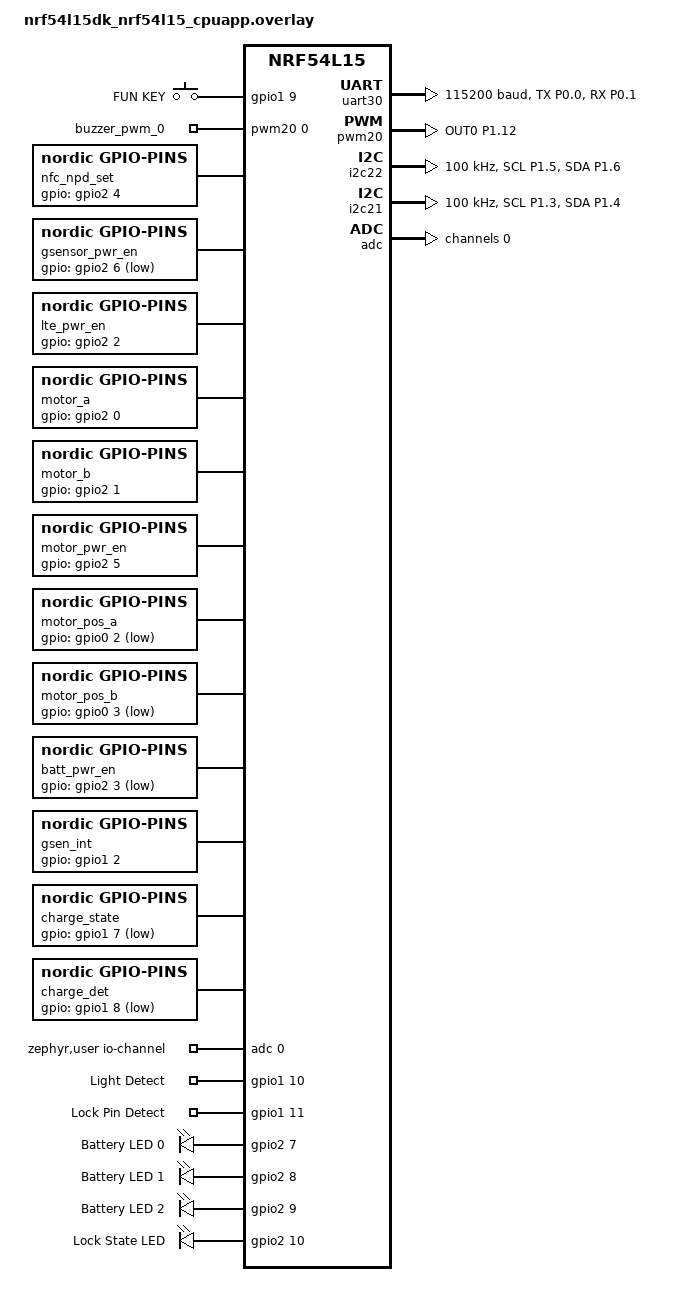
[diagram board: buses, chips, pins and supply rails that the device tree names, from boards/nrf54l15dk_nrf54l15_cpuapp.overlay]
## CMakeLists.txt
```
#
# Copyright (c) 2018 Nordic Semiconductor
#
# SPDX-License-Identifier: LicenseRef-Nordic-5-Clause
#
cmake_minimum_required(VERSION 3.20.0)

find_package(Zephyr REQUIRED HINTS $ENV{ZEPHYR_BASE})
project(LL311_BLE)

target_include_directories(app PRIVATE
 ./inc
 ./src
 ./ext_module/nfc/api
 ./ext_module/nfc/drivers/FM175XX/inc
)

# NORDIC SDK APP START
target_sources(app PRIVATE
  src/main.c
  src/my_ring_buf.c
  src/my_shell.c
  src/my_ble_core.c
  src/my_lte.c
  src/my_gsensor.c
  src/my_gsensor_algorithm.c
  src/my_nfc.c
  src/my_ctrl.c
  src/my_motor.c
  src/my_battery.c
#  src/my_wdt.c
  src/my_tool.c
  src/my_cmd_setting.c
  src/my_zms_param.c
  ext_module/nfc/api/nfc_api.c
  ext_module/nfc/drivers/FM175XX/src/fm175xx_driver.c
  ext_module/nfc/drivers/FM175XX/src/nfc_reader_api.c
  ext_module/nfc/drivers/FM175XX/src/nfc_mifare.c
  ext_module/nfc/drivers/FM175XX/src/nfc_ntag.c
  src/my_ble_app.c
  src/my_ble_log.c
  src/my_dfu_jimi.c
  src/my_pm.c
  src/my_ble_scan.c
)

# NORDIC SDK APP END
```

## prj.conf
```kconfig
#
# Copyright (c) 2018 Nordic Semiconductor
#
# SPDX-License-Identifier: LicenseRef-Nordic-5-Clause
#

# Enable the UART driver
CONFIG_UART_ASYNC_API=y
CONFIG_NRFX_UARTE=y
CONFIG_SERIAL=y

# Enable the GPIO driver
CONFIG_GPIO=y

# Enable I2C driver
CONFIG_I2C=y

# Enable PWM driver
CONFIG_PWM=y

# Make sure printk is printing to the RTT console
CONFIG_CONSOLE=y
CONFIG_UART_CONSOLE=n
CONFIG_RTT_CONSOLE=y

# Enable Shell
CONFIG_SHELL=y
CONFIG_SHELL_BACKEND_RTT=y
CONFIG_SHELL_BACKEND_SERIAL=n
CONFIG_SHELL_VT100_COMMANDS=y
CONFIG_SHELL_HISTORY=y

# Increase RTT buffer size to prevent message drops
CONFIG_SEGGER_RTT_BUFFER_SIZE_UP=4096
CONFIG_LOG_BUFFER_SIZE=4096

# Heap and stacks
CONFIG_HEAP_MEM_POOL_SIZE=16384
CONFIG_MAIN_STACK_SIZE=2048
CONFIG_SYSTEM_WORKQUEUE_STACK_SIZE=2048

# Bluetooth RX workqueue stack size (default 1200 is insufficient for BLE log, increased to 2048)
CONFIG_BT_RX_STACK_SIZE=2048

# Enable Bluetooth
CONFIG_BT=y
CONFIG_BT_PERIPHERAL=y
CONFIG_BT_DEVICE_NAME="LL311"
CONFIG_BT_DEVICE_APPEARANCE=512
CONFIG_BT_MAX_CONN=2
CONFIG_BT_MAX_PAIRED=1

# Enable Bluetooth Observer role for TAG scanning
CONFIG_BT_OBSERVER=y
CONFIG_BT_SCAN=y

# Enable extended advertising for multiple advertising sets
CONFIG_BT_EXT_ADV=y
CONFIG_BT_EXT_ADV_MAX_ADV_SET=3

CONFIG_BT_CTLR_TX_PWR_DYNAMIC_CONTROL=y

# Enable the Device Information Service
# CONFIG_BT_DIS=y
# CONFIG_BT_DIS_MANUF_NAME=y
# CONFIG_BT_DIS_MANUF_NAME_STR="Nordic Semiconductor ASA"
# CONFIG_BT_DIS_PNP=y
# CONFIG_BT_DIS_PNP_VID_SRC=2
# CONFIG_BT_DIS_PNP_VID=0x1915
# CONFIG_BT_DIS_PNP_PID=0xEEF1
# CONFIG_BT_DIS_PNP_VER=0x0100

# Disable NUS service
CONFIG_BT_NUS=n
# CONFIG_BT_NUS_THREAD_STACK_SIZE is no longer needed

# Enable bonding
CONFIG_BT_SETTINGS=y
CONFIG_FLASH=y
CONFIG_FLASH_PAGE_LAYOUT=y
CONFIG_FLASH_MAP=y
CONFIG_STREAM_FLASH=y
CONFIG_PARTITION_MANAGER_ENABLED=y

# Enable DK LED and Buttons library
CONFIG_DK_LIBRARY=n

# Disable SPI NOR Flash
CONFIG_SPI_NOR=n
CONFIG_NORDIC_QSPI_NOR=n

# Enable Power Management
CONFIG_PM=y
CONFIG_PM_DEVICE=y
CONFIG_PM_DEVICE_RUNTIME=y

# Disable unused RAM blocks to reduce standby current
CONFIG_RAM_POWER_DOWN_LIBRARY=y

# Config logger
CONFIG_LOG=y
CONFIG_LOG_DEFAULT_LEVEL=3
CONFIG_USE_SEGGER_RTT=y
CONFIG_LOG_BACKEND_RTT=n
CONFIG_LOG_BACKEND_UART=n
CONFIG_LOG_PRINTK=n
CONFIG_LOG_CUSTOM_FORMAT_SUPPORT=y
CONFIG_LOG_OUTPUT_FORMAT_CUSTOM_TIMESTAMP=y
CONFIG_LOG_BACKEND_FORMAT_TIMESTAMP=y

CONFIG_HWINFO=y


# Enable assertions
CONFIG_ASSERT=y

# Enable power management
CONFIG_PM=y
CONFIG_PM_DEVICE=y

# Enable Watchdog
# CONFIG_WATCHDOG=y

# Enable reboot
CONFIG_REBOOT=y

# Enable ADC
CONFIG_ADC=y
CONFIG_ADC_NRFX_SAADC=y

# ST MEMSC HAL
CONFIG_USE_STDC_LSM6DSV16X=y

# Enable poweroff
CONFIG_POWEROFF=y

# nRF Security + PSA Crypto
CONFIG_NRF_SECURITY=y

# AES ECB
CONFIG_PSA_WANT_KEY_TYPE_AES=y
CONFIG_PSA_WANT_ALG_ECB_NO_PADDING=y

# Enable MCUManager and BT OTA DFU
CONFIG_NCS_SAMPLE_MCUMGR_BT_OTA_DFU=y

# Enable Bluetooth OTA DFU support, no authentication required
CONFIG_MCUMGR_TRANSPORT_BT_PERM_RW=y

# MCUmgr notification hooks for OTA status monitoring
CONFIG_MCUMGR_MGMT_NOTIFICATION_HOOKS=y
CONFIG_MCUMGR_SMP_COMMAND_STATUS_HOOKS=y
CONFIG_MCUMGR_GRP_IMG_UPLOAD_CHECK_HOOK=y

# Enable Bluetooth SMP (Security Manager Protocol)
CONFIG_BT_SMP=y

# Enable Secure Connections pairing (for Passkey Entry)
CONFIG_BT_SMP_SC_PAIR_ONLY=n

# Enable larger ACL buffers for DFU (MTU 498 + 4 bytes L2CAP header)
# Supports dual-PDU mode: max data length = 251 * 2 = 502
CONFIG_BT_L2CAP_TX_MTU=498
CONFIG_BT_BUF_ACL_RX_SIZE=502
CONFIG_BT_BUF_ACL_TX_SIZE=502
CONFIG_BT_CTLR_DATA_LENGTH_MAX=251

CONFIG_CBPRINTF_FP_SUPPORT=y
```

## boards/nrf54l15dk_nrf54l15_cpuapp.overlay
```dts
/*
 * Copyright (c) 2024 Nordic Semiconductor ASA
 *
 * SPDX-License-Identifier: LicenseRef-Nordic-5-Clause
 */

#include <zephyr/dt-bindings/gpio/gpio.h>
#include <zephyr/dt-bindings/i2c/i2c.h>
#include <zephyr/dt-bindings/pinctrl/nrf-pinctrl.h>

/ {
	chosen {
	};

	/* 定义别名，方便代码调用 */
	aliases {
		/* 删除板级alias别名 */
		/delete-property/ led0;
		/delete-property/ led1;
		/delete-property/ led2;
		/delete-property/ led3;
		/delete-property/ pwm-led0;
		/delete-property/ sw0;
		/delete-property/ sw1;
		/delete-property/ sw2;
		/delete-property/ sw3;
		/delete-property/ mcuboot-button0;
		/delete-property/ mcuboot-led0;
		lte-uart = &uart30;
		lte-pwr-ctrl = &lte_pwr_en;
		gsensor-i2c = &i2c21;
		gsensor-pwr-ctrl = &gsensor_pwr_en;
		nfc-i2c = &i2c22;
		nfc-npd-ctrl = &nfc_npd_set;
		buzzer-pwm = &buzzer_pwm_0;
		fun-key = &fun_key_pin;
		motor-ctrl-a = &motor_a;
		motor-ctrl-b = &motor_b;
		motor-pwr-ctrl = &motor_pwr_en;
		motor-posdet-a = &motor_pos_a;
		motor-posdet-b = &motor_pos_b;
		batt-pwr-ctrl = &batt_pwr_en;
		gsensor-int = &gsen_int;
		batt-state = &charge_state;
		charge-detect = &charge_det;
		light-detect = &light_det_pin;
		lock-pin-det = &lock_pin_det_pin;
		battery-led0 = &batt_led0;
		battery-led1 = &batt_led1;
		battery-led2 = &batt_led2;
		lock-led0  = &lock_led;
	};
	/* 删除板级节点 */
	/delete-node/ leds;
	/delete-node/ buttons;
	/delete-node/ pwmleds;

	/* 定义按键 - 使用 gpio-keys 兼容类型 */
	button_fun: button_fun {
		compatible = "gpio-keys";
		fun_key_pin: fun_key_pin {
			gpios = <&gpio1 9 (GPIO_PULL_DOWN | GPIO_ACTIVE_HIGH)>;
			label = "FUN KEY";
		};
	};

	/* 定义蜂鸣器 PWM 节点 */
	buzzer_node {
		compatible = "pwm-leds";
		buzzer_pwm_0: buzzer_pwm_0 {
			/* 蜂鸣器设置2.7KHz */
			pwms = <&pwm20 0 PWM_HZ(2700) PWM_POLARITY_NORMAL>;
		};
	};

	/* NFC NPD 低功耗控制引脚配置:P2.04 */
	nfc_npd_set: nfc-npd-set {
		compatible = "nordic,gpio-pins";
		gpios = <&gpio2 4 GPIO_ACTIVE_HIGH>;
		status = "okay";
	};

	/* G-Sensor 电源控制引脚配置,低电平有效,适配硬件设计 */
	gsensor_pwr_en: gsensor-pwr-en {
		compatible = "nordic,gpio-pins";
		gpios = <&gpio2 6 GPIO_ACTIVE_LOW>;
		status = "okay";
	};

	/* LTE 电源控制引脚配置 */
	lte_pwr_en: lte-pwr-en {
		compatible = "nordic,gpio-pins";
		gpios = <&gpio2 2 GPIO_ACTIVE_HIGH>;
		status = "okay";
	};

	/* P2.0: 马达方向 A */
	motor_a: motor-a {
		compatible = "nordic,gpio-pins";
		gpios = <&gpio2 0 GPIO_ACTIVE_HIGH>;
		status = "okay";
	};

	/* P2.1: 马达方向 B */
	motor_b: motor-b {
		compatible = "nordic,gpio-pins";
		gpios = <&gpio2 1 GPIO_ACTIVE_HIGH>;
		status = "okay";
	};

	/* P2.5: 马达电源开关，高电平上电 */
	 motor_pwr_en: motor-pwr-en {
		compatible = "nordic,gpio-pins";
		gpios = <&gpio2 5 GPIO_ACTIVE_HIGH>;
		status = "okay";
	};

	/* P0.2: 位置检测 A，默认上拉 */
	motor_pos_a: motor-pos-a {
		compatible = "nordic,gpio-pins";
		gpios = <&gpio0 2 (GPIO_ACTIVE_LOW | GPIO_PULL_UP)>;
		status = "okay";
	};

	/* P0.3: 位置检测 B，默认上拉 */
	motor_pos_b: motor-pos-b {
		compatible = "nordic,gpio-pins";
		gpios = <&gpio0 3 (GPIO_ACTIVE_LOW | GPIO_PULL_UP)>;
		status = "okay";
	};

	/* P2.3: 电池使能，低电平使能 */
	batt_pwr_en: batt-pwr-en {
		compatible = "nordic,gpio-pins";
		gpios = <&gpio2 3 GPIO_ACTIVE_LOW>;
		status = "okay";
	};

	/* gsensor中断，默认下拉 */
	gsen_int: gsen-int {
		compatible = "nordic,gpio-pins";
		gpios = <&gpio1 2 (GPIO_PULL_DOWN | GPIO_ACTIVE_HIGH)>;
		status = "okay";
	};

	/* P1.7:电池状态监测； 充电中:低电平; 充满:高电平 */
	charge_state: charge-state {
		compatible = "nordic,gpio-pins";
		gpios = <&gpio1 7 (GPIO_PULL_UP | GPIO_ACTIVE_LOW)>;
		status = "okay";
	};

	/* P1.8: 是否在充电的检测,默认上拉 */
	charge_det: charge-det {
		compatible = "nordic,gpio-pins";
		gpios = <&gpio1 8 (GPIO_PULL_UP | GPIO_ACTIVE_LOW)>;
		status = "okay";
	};

	/* 把要用的 ADC 通道挂到 zephyr,user，方便 C 代码用 ADC_DT_SPEC_GET(DT_PATH(zephyr_user)) */
	zephyr,user {
		/* 通道 0：电池电压（P1.13 / AIN6）*/
		io-channels = <&adc 0>;
	};

	/* 光感检测：P1.10，外部1M下拉，有光高电平，无光低电平 */
	light_det: light-det {
		compatible = "gpio-keys";
		light_det_pin: light_det_pin {
			gpios = <&gpio1 10 GPIO_ACTIVE_HIGH>;
			label = "Light Detect";
		};
	};

	/* 锁销检测：P1.11，外部1M下拉，锁销断开时低电平，插入后接3.3V变为高电平 */
	lock_pin_det: lock-pin-det {
		compatible = "gpio-keys";
		lock_pin_det_pin: lock_pin_det_pin {
			gpios = <&gpio1 11 GPIO_ACTIVE_HIGH>;
			label = "Lock Pin Detect";
		};
	};

	/* 电量指示灯组：P2.7 / P2.8 / P2.9 */
	batt_leds: batt-leds {
		compatible = "gpio-leds";

		batt_led0: batt_led_0 {
			gpios = <&gpio2 7 GPIO_ACTIVE_HIGH>;
			label = "Battery LED 0";  /* 最低电量格 */
		};

		batt_led1: batt_led_1 {
			gpios = <&gpio2 8 GPIO_ACTIVE_HIGH>;
			label = "Battery LED 1";
		};

		batt_led2: batt_led_2 {
			gpios = <&gpio2 9 GPIO_ACTIVE_HIGH>;
			label = "Battery LED 2";  /* 最高电量格 */
		};
	};

	/* 锁状态指示灯：P2.10 */
	lock_leds: lock-leds {
		compatible = "gpio-leds";

		lock_led: lock-led {
			gpios = <&gpio2 10 GPIO_ACTIVE_HIGH>;
			label = "Lock State LED";
		};
	};
};

/* 配置 NFC 使用的引脚做为IO口 */
&uicr {
	nfct-pins-as-gpios;
};

&uart20 {
	status = "disabled";
};

/* 配置 LTE 模块使用的串口引脚 P2.00, P2.01 */
&pinctrl {
	i2c21_default: i2c21_default {
		group1 {
			psels = <NRF_PSEL(TWIM_SCL, 1, 3)>,
				<NRF_PSEL(TWIM_SDA, 1, 4)>;
		};
	};

	i2c21_sleep: i2c21_sleep {
		group1 {
			psels = <NRF_PSEL(TWIM_SCL, 1, 3)>,
				<NRF_PSEL(TWIM_SDA, 1, 4)>;
			low-power-enable;
		};
	};

	i2c22_default: i2c22_default {
		group1 {
			psels = <NRF_PSEL(TWIM_SCL, 1, 5)>,
				<NRF_PSEL(TWIM_SDA, 1, 6)>;
		};
	};

	i2c22_sleep: i2c22_sleep {
		group1 {
			psels = <NRF_PSEL(TWIM_SCL, 1, 5)>,
				<NRF_PSEL(TWIM_SDA, 1, 6)>;
			low-power-enable;
		};
	};

	lte_uart30_default: lte_uart30_default {
		group1 {
			psels = <NRF_PSEL(UART_TX, 0, 0)>,
				<NRF_PSEL(UART_RX, 0, 1)>;
		};
	};

	lte_uart30_sleep: lte_uart30_sleep {
		group1 {
			psels = <NRF_PSEL(UART_TX, 0, 0)>,
				<NRF_PSEL(UART_RX, 0, 1)>;
			low-power-enable;
		};
	};

	pwm20_default: pwm20_default {
		group1 {
			psels = <NRF_PSEL(PWM_OUT0, 1, 12)>;
			nordic,drive-mode = <NRF_DRIVE_H0H1>;
		};
	};

	pwm20_sleep: pwm20_sleep {
		group1 {
			psels = <NRF_PSEL(PWM_OUT0, 1, 12)>;
			low-power-enable;
		};
	};
};

/* 开启并配置 UART30 */
&uart30 {
	status = "okay";
	current-speed = <115200>;
	pinctrl-0 = <&lte_uart30_default>;
	pinctrl-1 = <&lte_uart30_sleep>;
	pinctrl-names = "default", "sleep";
};

/* 开启并配置 PWM 用于蜂鸣器 */
&pwm20 {
	status = "okay";
	pinctrl-0 = <&pwm20_default>;
	pinctrl-1 = <&pwm20_sleep>;
	pinctrl-names = "default", "sleep";
};

/* 开启并配置 I2C22 用于 NFC */
&i2c22 {
	status = "okay";
	pinctrl-0 = <&i2c22_default>;
	pinctrl-1 = <&i2c22_sleep>;
	pinctrl-names = "default", "sleep";
	clock-frequency = <I2C_BITRATE_STANDARD>;
};


&i2c21 {
	status = "okay";
	pinctrl-0 = <&i2c21_default>;
	pinctrl-1 = <&i2c21_sleep>;
	pinctrl-names = "default", "sleep";
	clock-frequency = <I2C_BITRATE_STANDARD>;
};

/* ADC 配置：通道 0 = AIN6(P1.13)，通道 1 = AIN7(P1.14) */
&adc {
	#address-cells = <1>;
	#size-cells = <0>;
	status = "okay";

	/* 通道 0：电池电压采集，AIN6 = P1.13 */
	channel@0 {
		reg = <0>;
		zephyr,gain = "ADC_GAIN_1_4";          /* nRF54L15 推荐 1/4 增益 */
		zephyr,reference = "ADC_REF_INTERNAL"; /* 内部参考 */
		zephyr,acquisition-time = <ADC_ACQ_TIME_DEFAULT>;
		zephyr,input-positive = <NRF_SAADC_AIN6>;  /* AIN6 = P1.13 */
		zephyr,resolution = <14>;                  /* nRF54L15 为 14 bit */
	};
};

/* disable spi nor flash */
&spi00 {
	status = "disabled";
};

/* Disable MX25R64 SPI NOR Flash */
&mx25r64 {
    status = "disabled";
};

/* 用于P0.4唤醒 */
&gpio0 {
	wakeup-source;
};

/*
&wdt31 {
	status = "okay";
};
*/
```

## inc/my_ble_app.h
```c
/********************************************************************
**版权所有         深圳市几米物联有限公司
**文件名称:        my_ble_app.h
**文件描述:        设备蓝牙交互模块实现头文件
**当前版本:        V1.0
**作    者:        周森达 (zhousenda@jimiiot.com)
**完成日期:        2026-03-05
*********************************************************************
** 功能描述:        1. 提供交互协议相关宏定义
**                 2. 为外部提供数据接收和解析相关接口
** OTA 效率优化:    为提升 OTA 传输效率，采用双 PDU 模式，MTU 扩大至 498 字节
**                 （默认 MTU 247 仅支持单 PDU，498 支持双 PDU，理论吞吐提升约 2 倍）
** 配置位置:        prj.conf 中 CONFIG_BT_L2CAP_TX_MTU=498 和 CONFIG_BT_BUF_ACL_RX_SIZE=502
*********************************************************************/
#ifndef _MY_BLE_APP_H_
#define _MY_BLE_APP_H_

// 交互协议相关宏定义
#define BLE_DATA_FRAME_LEN_MAX                  16

#define BLE_DATA_PACKET_HEAD                    0X4254          //数据包头
#define BLE_DATA_TYPE_PKEY                      0x1101          //公钥数据
#define BLE_DATA_TYPE_CID                       0x2202          //串号数据
#define BLE_DATA_TYPE_MTU_LEN                   0x2203          //MTU交换数据
#define BLE_DATA_TYPE_HID_VALID                 0x2303          //HID有效期
#define BLE_DATA_TYPE_ALARM                     0x3303          //防盗器指令数据
#define BLE_DATA_TYPE_QUERY                     0x3304          //查询仪表数据及应答
#define BLE_DATA_TYPE_REPORT                    0x3305          //仪表数据上行汇报及应答
#define BLE_DATA_TYPE_CMD                       0x5505          //其它指令数据
#define BLE_DATA_TYPE_FILE_TRANS                0x4605          //DFU文件指令,参考Jimi Iot 蓝牙通信协议V3.1.6_2026-3-5 6.4 OTA文件传输
#define BLE_DATA_TYPE_QEURY_VER                 0x5601          //app下行查询版本号
#define BLE_DATA_TYPE_RSP_VER1                  0x5602          //设备类型
#define BLE_DATA_TYPE_RSP_VER2                  0x5603          //设备版本号

#define BLE_DATA_TYPE_SET_ADV                   0x5606          //设置广播名称
#define BLE_DATA_TYPE_SET_IMEI                  0x5707          //设置IMEI号
#define BLE_DATA_TYPE_AT_CMD                    0x5808          //用户指令

#define BLE_DFU_HEAD1                           0x78            // DFU包头1
#define BLE_DFU_HEAD2                           0x79            // DFU包头2

#define BLE_COMU_DEV_CODE                       0xB3            // 设备码
#define BLE_COMU_APP_CODE                       0xC2            // 应用码
#define BLE_COMU_CMD_START                      0x89            // 命令码
#define BLE_COMU_ALARM_START                    0x78            // 告警码

#define BLE_PKEY_RX_CMD                         0x8900C200      // 公钥接收命令
#define BLE_PKEY_RSP_DATA1                      0x00            // 公钥接收响应数据1
#define BLE_PKEY_RSP_DATA3                      0x00 

/* APP下行控制指令    */
#define BLE_APP_CMD_APP_LINK                    0x00
#define BLE_APP_CMD_PAIR_ALLOW                  0x02
#define BLE_APP_CMD_PAIR_ALIOS                  0x03            // IOS PAIR ALLOW
#define BLE_APP_CMD_HID_READ                    0x05
#define BLE_APP_CMD_HID_ONOFF                   0x06
#define BLE_APP_CMD_HID_GEAR                    0x08
#define BLE_APP_CMD_QUERY_SENSOR                0x09
#define BLE_APP_CMD_SETUP_SENSOR                0x0a
#define BLE_APP_CMD_QUERY_BUZZER                0x0b
#define BLE_APP_CMD_SETUP_BUZZER                0x0c
#define BLE_APP_CMD_QUERY_CTRLPWR               0x0d
#define BLE_APP_CMD_SETUP_CTRLPWR               0x0e
#define BLE_APP_CMD_QUERY_ALL                   0x0f
#define BLE_APP_CMD_FIND_CAR                    0x10
#define BLE_APP_CMD_USER_MODE                   0x12
#define BLE_APP_CMD_PAIR_MODE                   0x15
#define BLE_APP_CMD_PAIR_CODE                   0x16

/* 设备上行应答APP控制指令       */
#define BLE_RSP_CMD_APP_LINK                    0x00
#define BLE_RSP_CMD_CID                         0x01
#define BLE_RSP_CMD_PAIR_ALLOW                  0x03
#define BLE_RSP_CMD_PAIR_RESULT                 0x04
#define BLE_RSP_CMD_HID_ONOFF                   0x06
#define BLE_RSP_CMD_HID_GEAR                    0x08
#define BLE_RSP_CMD_SENSOR_PARAM                0x09
#define BLE_RSP_CMD_SENSOR_SETUP                0x0a
#define BLE_RSP_CMD_BUZZER_PARAM                0x0b
#define BLE_RSP_CMD_BUZZER_SETUP                0x0c
#define BLE_RSP_CMD_CTRLPWR_PARAM               0x0d
#define BLE_RSP_CMD_CTRLPWR_SETUP               0x0e
#define BLE_RSP_CMD_QUERY_ALL                   0x0f
#define BLE_RSP_CMD_FIND_CAR                    0x10
#define BLE_RSP_CMD_USER_MODE                   0x12
#define BLE_RSP_CMD_PAIR_MODE                   0x15
#define BLE_RSP_CMD_PAIR_CODE                   0x16

#define BLE_RSP_PARAM_SUCCESS                   0x00
#define BLE_RSP_PARAM_FAIL                      0x01

extern uint16_t ble_server_mtu;

#define BLE_SERVER_MAX_MTU CONFIG_BT_L2CAP_TX_MTU // MTU最大长度，系统用掉了3个字节,可用数据最大244字节
#define BLE_SERVER_MIN_MTU 23                     // MTU默认最小长度

#define BLE_SERVER_MAX_DATA_LEN    (ble_server_mtu - 3)
#define BLE_SVC_RX_MAX_LEN         (BLE_SERVER_MAX_MTU - 3)
#define BLE_SVC_TX_MAX_LEN         (BLE_SERVER_MAX_MTU - 3)

#define BLE_RESP_LENGTH_MAX         BLE_SVC_RX_MAX_LEN

#define BLE_FRAME_HEAD_LEN          2               // 蓝牙数据帧头长度2字节
#define BLE_CMD_HEAD_LEN            2               // 蓝牙命令头长度2字节
#define BLE_CMD_DATA_LEN_UNIT       16              // 蓝牙命令内容长度基数16字节，因为要加密，必须是16字节的倍数
#define BLE_GATT_FRAME_LEN_MIN      (BLE_FRAME_HEAD_LEN + BLE_CMD_HEAD_LEN + BLE_CMD_DATA_LEN_UNIT)

#define BLE_MTU_DATA_LEN            (512 + 16)  /* MTU 498 支持，最大解密后约 512 字节，对齐 16 字节 */

/*********************************************************************
**函数名称:  BLE_DataInputBuffer
**入口参数:  data        --  蓝牙接收的原始数据指针
**           len         --  蓝牙接收的原始数据长度
**出口参数:  无
**函数功能:  验证数据长度合法性后缓存数据，发送消息给蓝牙线程处理
**返 回 值:  无
*********************************************************************/
void BLE_DataInputBuffer(const uint8_t *data, uint16_t len);
/*********************************************************************
**函数名称:  ble_rx_proc_handle
**入口参数:  无
**出口参数:  无
**函数功能:  蓝牙接收消息处理函数，验证包头后分发处理数据包
**返 回 值:  无
*********************************************************************/
void ble_rx_proc_handle(void);

/*********************************************************************
**函数名称:  my_ble_dfu_send_response
**入口参数:  cmd   ---   命令码
**           data  ---   响应数据
**           len   ---   数据长度
**出口参数:  无
**函数功能:  发送 DFU 响应数据
**返 回 值:  无
*********************************************************************/
void my_ble_dfu_send_response(uint8_t cmd, uint8_t *data, uint16_t len);

#endif
```

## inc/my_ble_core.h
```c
/********************************************************************
**版权所有         深圳市几米物联有限公司
**文件名称:        my_ble_core.h
**文件描述:        蓝牙核心任务处理模块头文件
**当前版本:        V1.0
**作    者:        Harrison Wu (wuyujiao@jimiiot.com)
**完成日期:        2026.01.13
*********************************************************************
** 功能描述:        蓝牙核心任务处理模块接口
**                 1. 提供BLE核心初始化接口
**                 2. 提供BLE运行控制接口(启动/停止等)
**                 3. 定义BLE与UART透传之间的FIFO接口
**                 4. 为应用层提供BLE连接状态和数据通道抽象
*********************************************************************/

#ifndef _MY_BLE_CORE_H_
#define _MY_BLE_CORE_H_

typedef enum {
    APPLE_ADV_TYPE,
    GOOGLE_ADV_TYPE
} MY_ADV_TYPE;

/*
 * BLE 核心初始化参数：
 * 目前暂无特定参数，预留结构体
 */
struct my_ble_core_init_param
{
    uint32_t reserved;
};

/********************************************************************
**函数名称:  my_ble_core_init
**入口参数:  param    ---        BLE 核心初始化参数结构体（包含 UART-BLE 透传 FIFO ）
**           tid      ---        指向线程 ID 变量的指针
**出口参数:  tid      ---        存储启动后的线程 ID
**函数功能:  保存 UART 与 BLE 透传 FIFO 句柄，初始化消息队列并启动 BLE 任务线程
**返 回 值:  0 表示成功，负值表示失败（如参数非法等）
*********************************************************************/
int my_ble_core_init(const struct my_ble_core_init_param *param, k_tid_t *tid);

/********************************************************************
**函数名称:  my_ble_core_start
**入口参数:  无
**出口参数:  无
**函数功能:  启动 BLE 协议栈、相关广播及 GATT 服务
**返 回 值:  0 表示成功，负值表示失败（如协议栈初始化失败等）
*********************************************************************/
int my_ble_core_start(void);

/********************************************************************
**函数名称:  set_adv_valid_status
**入口参数:  index    ---        广播类型索引（0:APPLE, 1:GOOGLE）
**           status   ---        广播状态（0:无效, 1:有效）
**出口参数:  无
**函数功能:  设置指定类型广播的有效状态
**返 回 值:  无
*********************************************************************/
void set_adv_valid_status(MY_ADV_TYPE index, int status);

/********************************************************************
**函数名称:  bt_get_mac_addr
**入口参数:  无
**出口参数:  无
**函数功能:  获取设备蓝牙MAC地址
**返 回 值:  指向MAC地址缓冲区的指针（6字节）
*********************************************************************/
const uint8_t *bt_get_mac_addr(void);
/********************************************************************
**函数名称:  ble_server_send_notification
**入口参数:  data     ---        要发送的数据缓冲区指针
**           tx_len   ---        数据长度
**出口参数:  无
**函数功能:  BLE服务器发送通知函数，处理GATT通知数据发送
**返 回 值:  无
*********************************************************************/
void ble_server_send_notification(uint8_t *data, uint16_t tx_len);

#endif /* _MY_BLE_CORE_H_ */
```

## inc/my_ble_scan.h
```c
/********************************************************************
**版权所有         深圳市几米物联有限公司
**文件名称:        my_ble_scan.h
**文件描述:        设备扫描模块头文件
**当前版本:        V1.0
**作    者:       周森达 (zhousenda@jimiiot.com)
**完成日期:        2026.04.14
*********************************************************************
** 功能描述:        设备扫描模块接口定义
**                 1. 定义扫描结果/配置/缓存等核心数据结构
**                 2. 定义四种工作模式：关闭/唤醒扫描/周期缓存/周期上报
**                 3. 提供初始化、配置设置、前缀添加等对外接口
**                 4. 提供LTE唤醒时的扫描触发和数据上报接口
**                 5. 提供BLE线程消息处理接口，支持无锁串行处理
*********************************************************************/

#ifndef _MY_BLE_SCAN_H_
#define _MY_BLE_SCAN_H_

/* 宏定义 */
#define TAG_PREFIX_MAX_NUM          10      // 最大支持TAG前缀数量
#define TAG_PREFIX_MAX_LEN          16      // 前缀最大长度
#define ADV_NAME_MAX_LEN            32      // 设备名称最大长度
#define TAG_FF_DATA_MAX_LEN         29      // FF数据固定长度
#define UUID_MAX_LEN                16      // UUID最大存储长度
#define ADV_CACHE_MAX_NUM           10      // ADV数据缓存最大数量
#define TAG_RESULT_MAX_NUM          10      // 最大存储结果数量,后续根据实际情况调整
#define TRAN_MAC_ADV_DATA_MAX_LEN   31      // 蓝牙广播数据最大长度（Legacy ADV）
#define TRAN_MAC_MAX_NUM            20      // 透传MAC地址最大数量

/* 扫描工作模式枚举 */
typedef enum
{
    SCAN_MODE_OFF = 0,          // Mode 0：关闭蓝牙扫描收集功能
    SCAN_MODE_PERIOD_CACHE,     // Mode 1：周期扫描收集，仅4G唤醒时上传
    SCAN_MODE_PERIOD_UPLOAD,    // Mode 2：周期扫描收集，定时主动唤醒上传
} scan_mode_t;

/* 扫描状态枚举 */
typedef enum
{
    SCAN_STATE_IDLE = 0,        // 空闲状态
    SCAN_STATE_SCANNING,        // 扫描中
    SCAN_STATE_WAITING_UPLOAD,  // 等待上报
} scan_state_t;

/* TAG设备名称前缀结构 */
typedef struct
{
    char prefix[TAG_PREFIX_MAX_LEN];    // 前缀字符串
    uint8_t len;                        // 前缀长度
    bool valid;                         // 有效标志
} tag_prefix_t;

/* TAG设备名称前缀表 */
typedef struct
{
    tag_prefix_t items[TAG_PREFIX_MAX_NUM];
    uint8_t count;                      // 当前有效前缀数量
} tag_prefix_table_t;

/* TAG设备扫描结果结构 */
typedef struct
{
    bt_addr_le_t addr;                          // 设备MAC地址
    char name[ADV_NAME_MAX_LEN];                // 设备名称
    uint8_t ff_data[TAG_FF_DATA_MAX_LEN];       // FF数据
    uint8_t ff_data_len;                        // FF数据长度
    uint8_t uuid[UUID_MAX_LEN];                 // UUID数据
    uint8_t uuid_len;                           // UUID数据长度
    uint8_t battery_percent;                    // 电量百分比
    int8_t rssi;                                // 信号强度
    uint32_t timestamp;                         // 采集到该记录时的系统时间戳(秒)
} tag_scan_result_t;

/* TAG扫描结果表 */
typedef struct
{
    tag_scan_result_t items[TAG_RESULT_MAX_NUM];
    uint8_t count;                       // 当前结果数量
} tag_scan_result_table_t;

/* 扫描模块配置结构 */
typedef struct
{
    scan_mode_t mode;                 // 工作模式
    uint32_t scan_interval;           // 扫描间隔（秒）
    uint32_t scan_length;             // 单次扫描时长（秒）
    uint32_t upload_interval;         // 上报间隔（秒）
    scan_state_t state;               // 当前状态
} scan_config_t;

/* ADV数据缓存项结构 */
typedef struct
{
    bt_addr_le_t addr;
    uint8_t ff_data[TAG_FF_DATA_MAX_LEN];
    uint8_t ff_data_len;
    bool valid;
    uint32_t seq_num;     // 序号，越大表示越新
} adv_cache_item_t;

/* TAG扫描处理消息结构 */
typedef struct
{
    uint8_t adv_type;
    tag_scan_result_t result;
} tag_scan_process_msg_t;

/* 透传MAC扫描结果项 */
typedef struct
{
    bt_addr_le_t addr;
    uint8_t adv_data[TRAN_MAC_ADV_DATA_MAX_LEN];
    uint8_t adv_data_len;
    uint32_t timestamp;                         // 采集到该记录时的系统时间戳(秒)
} tran_mac_result_item_t;

/* 透传MAC扫描结果表 */
typedef struct
{
    tran_mac_result_item_t items[TRAN_MAC_MAX_NUM];
    uint8_t count;
} tran_mac_result_table_t;

/* 透传MAC处理消息结构 */
typedef struct
{
    bt_addr_le_t addr;
    uint8_t adv_data[TRAN_MAC_ADV_DATA_MAX_LEN];
    uint8_t adv_data_len;
} tran_mac_process_msg_t;

/********************************************************************
**函数名称:  my_scan_init
**入口参数:  无
**出口参数:  无
**函数功能:  初始化扫描模块，注册扫描回调，初始化前缀表
**返 回 值:  0表示成功，负值表示失败
*********************************************************************/
int my_scan_init(void);

/********************************************************************
**函数名称:  my_scan_set_config
**入口参数:  mode        ---        工作模式（0-3）
**           scan_interval ---      扫描间隔（秒）
**           scan_length ---        单次扫描时长（秒）
**           upload_interval ---    上报间隔（秒）
**出口参数:  无
**函数功能:  设置扫描配置参数
**返 回 值:  无
*********************************************************************/
void my_scan_set_config(uint8_t mode, uint32_t scan_interval,
                           uint32_t scan_length, uint32_t upload_interval);

/********************************************************************
**函数名称:  my_scan_upload_on_lte_wakeup
**入口参数:  无
**出口参数:  无
**函数功能:  LTE唤醒时处理扫描（告警/工作模式切换时调用）
**           Mode 1：启动扫描
**           Mode 2/3：上报扫描数据
**返 回 值:  无
**注意事项:  此函数在LTE已唤醒或正在唤醒时调用，不主动唤醒LTE
*********************************************************************/
void my_scan_upload_on_lte_wakeup(void);

/********************************************************************
**函数名称:  my_tag_prefix_add
**入口参数:  prefix    ---        要添加的前缀字符串
**出口参数:  无
**函数功能:  添加过滤前缀到前缀表
**返 回 值:  0表示成功，负值表示失败
*********************************************************************/
int my_tag_prefix_add(const char *prefix);

/********************************************************************
**函数名称:  my_scan_msg_handler
**入口参数:  msg_ptr           ---        消息结构体指针
**出口参数:  无
**函数功能:  扫描消息处理函数，在BLE线程中调用
**返 回 值:  无
**注意事项:  此函数必须在BLE线程的消息处理循环中调用
*********************************************************************/
void my_scan_msg_handler(msg_t *msg_ptr);

/********************************************************************
**函数名称:  my_tran_mac_check
**入口参数:  addr          ---        待检查的蓝牙地址指针
**出口参数:  无
**函数功能:  检查指定蓝牙地址是否在透传MAC地址列表中
**返 回 值:  true表示匹配成功，false表示不匹配
*********************************************************************/
bool my_tran_mac_check(const bt_addr_le_t *addr);

/********************************************************************
**函数名称:  my_tran_mac_add
**入口参数:  addr          ---        要添加的蓝牙地址指针
**出口参数:  无
**函数功能:  添加透传MAC地址到列表
**返 回 值:  0表示成功，-EEXIST表示已存在,-ENOMEM表示没有空间
*********************************************************************/
int my_tran_mac_add(const bt_addr_le_t *addr);

/********************************************************************
**函数名称:  my_tran_mac_del
**入口参数:  addr          ---        要删除的蓝牙地址指针
**出口参数:  无
**函数功能:  从列表中删除指定透传MAC地址
**返 回 值:  0表示成功，-ENOENT表示未找到
*********************************************************************/
int my_tran_mac_del(const bt_addr_le_t *addr);

/********************************************************************
**函数名称:  my_tran_mac_del_all
**入口参数:  无
**出口参数:  无
**函数功能:  清空所有透传MAC地址
**返 回 值:  无
*********************************************************************/
void my_tran_mac_del_all(void);

/********************************************************************
**函数名称:  my_scan_test_flush_sort
**入口参数:  type      ---        数据类型(0=TAG, 1=透传MAC)
**           count     ---        注入的测试记录条数
**出口参数:  无
**函数功能:  测试专用：向实时表注入count条乱序时间戳记录后调用真实落盘接口，
**           用于验证落盘前按时间戳从小到大排序。注入令序号与时间戳反序，
**           排序正确则回读序号应为降序
**返 回 值:  实际注入并落盘的记录条数，负值表示参数非法
**注意事项:  函数定义仅在FS_STORE_TEST_ENABLE开启时编译，仅供shell测试调用
*********************************************************************/
int my_scan_test_flush_sort(uint8_t type, uint16_t count);

/********************************************************************
**函数名称:  clear_tag_macinfo
**入口参数:  无
**出口参数:  无
**函数功能:  重置扫描与上传相关的状态机、序列号，并清空TAG及MAC地址缓存表
**返 回 值:  无
*********************************************************************/
void clear_tag_macinfo(void);

/********************************************************************
**函数名称:  tag_mac_scan_upload_data
**入口参数:  无
**出口参数:  无
**函数功能:  状态机调度函数，负责按（START->DATA->DATA->...->END）分步上传
**             TAG数据和透传MAC地址数据。该函数需配合LTE模块的应答机制
**             多次调用以推进状态流转。
**返 回 值:  无
*********************************************************************/
void tag_mac_scan_upload_data(void);

#endif /* _MY_BLE_SCAN_H_ */
```

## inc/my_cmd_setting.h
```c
/********************************************************************
**版权所有         深圳市几米物联有限公司
**文件名称:        my_cmd_setting.h
**文件描述:        设备命令设置模块头文件
**当前版本:        V1.0
**作    者:        周森达 (zhousenda@jimiiot.com)
**完成日期:        2026.02.12
*********************************************************************/

#ifndef _MY_CMD_SETTING_H_
#define _MY_CMD_SETTING_H_

#define AT_CMD_TABLE_TOTAL (sizeof(at_cmd_attr_table)/sizeof(at_cmd_attr_t))
#define LTE_CMD_TABLE_TOTAL (sizeof(lte_cmd_attr_table)/sizeof(char*))

#define RESP_STRING_LENGTH_MAX              BLE_SVC_RX_MAX_LEN
#define CMD_STRING_LENGTH_MAX               128                 //暂定可接收cmd缓冲区大小

typedef enum
{
    PARM_1,
    PARM_2,
    PARM_3,
    PARM_4,
    PARM_5,
    PARM_6,
    PARM_7,
    PARM_8,
    PARM_9,
    PARM_10,
    PARM_11,
    PARM_12,
    PARM_13,
    PARM_14,
    PARM_15,
    PARM_16,
    PARM_17,
    PARM_18,
    PARM_19,
    PARM_20,
    PARM_MAX
} cmd_parm_struct;

typedef struct {
    char *parm[PARM_MAX];
    uint8_t parm_count;

    char rcv_msg[CMD_STRING_LENGTH_MAX];            //接收到的数据
    uint16_t rcv_length;

    char resp_msg[RESP_STRING_LENGTH_MAX];          //应答数据
    uint16_t resp_length;
} at_cmd_struc;

typedef int(*at_cmd_handler_t)(at_cmd_struc *msg);

typedef struct
{
    char *cmd_str;
    at_cmd_handler_t cmd_func;
} at_cmd_attr_t;

// 标记lte_cmd来的,用于区分蓝牙下发的还是lte过来的(某些指令只能网络发蓝牙不能执行)
extern uint8_t g_lte_cmdSource;

/********************************************************************
**函数名称:  set_work_mode
**入口参数:  config   ---        指向设备工作模式配置结构体的指针
**           mode     ---        要设置的工作模式（连续/长续航/智能等）
**出口参数:  config   ---        更新后的配置结构体
**函数功能:  设置设备的工作模式，将指定的工作模式写入作模式配置结构体
**返 回 值:  0 表示成功，负值表示失败（如参数非法等）
*********************************************************************/
int set_work_mode(DeviceWorkModeConfig *config, MY_WORK_MODE mode);

/********************************************************************
**函数名称:  set_long_battery_params
**入口参数:  config              ---    指向设备工作模式配置结构体的指针
**           reporting_interval   ---    上报间隔时间（单位：分钟）
**           start_time_str      ---    启动时间字符串（格式：HH:MM）
**出口参数:  config              ---    更新后的长续航模式配置结构体
**函数功能:  设置长续航模式的工作参数，包括上报间隔和启动时间
**返 回 值:  0 表示成功，负值表示失败（如时间格式错误等）
*********************************************************************/
int set_long_battery_params(DeviceWorkModeConfig *config, uint16_t reporting_interval, const char *start_time_str);

/********************************************************************
**函数名称:  set_intelligent_params
**入口参数:  config   ---        指向设备工作模式配置结构体的指针
**           static_int ---      静态状态上报间隔（单位：秒）
**           land_int   ---      陆地状态上报间隔（单位：秒）
**           sea_int    ---      海上状态上报间隔（单位：秒）
**           sleep_sw   ---      睡眠模式标志（0:不休眠,1、2具体见产品设计）
**出口参数:  config   ---        更新后的智能模式配置结构体
**函数功能:  设置智能模式的工作参数，根据不同状态配置不同的上报间隔及睡眠模式
**返 回 值:  0 表示成功，负值表示失败（如参数非法等）
*********************************************************************/
int set_intelligent_params(DeviceWorkModeConfig *config, uint32_t static_int, uint32_t land_int, uint32_t land_distance, uint32_t sea_int, uint8_t sleep_sw);

/********************************************************************
**函数名称:  at_recv_cmd_handler
**入口参数:  at_cmd_msg      ---        AT指令结构体指针，包含接收的指令和响应存储区域(输入/输出)
**出口参数:  at_cmd_msg中更新响应消息内容和响应长度
**函数功能:  解析接收到的AT指令并执行对应的处理函数
**返回值:    成功返回处理函数返回的BLE数据类型，未匹配指令或处理失败返回0
*********************************************************************/
uint16_t at_recv_cmd_handler(at_cmd_struc *at_cmd_msg);

/********************************************************************
**函数名称:  run_nfc_cmd
**入口参数:  card_id      ---      输入，NFC卡号指针
**           index      ---        匹配到卡号的索引
**出口参数:  at_cmd_msg中更新响应消息内容和响应长度
**函数功能:  执行NFC联动指令
**返回值:    成功返回处理函数返回的BLE数据类型，未匹配指令或命令解析失败返回0
**          返回非0不代表命令执行成功，具体看对应的执行函数resp_msg回复
*********************************************************************/
uint16_t run_nfc_cmd(char *card_id, uint8_t *index);

/********************************************************************
**函数名称:  run_lte_cmd
**入口参数:  at_cmd_msg      ---   指令结构体指针，包含接收的指令和响应存储区域(输入/输出)
**出口参数:  at_cmd_msg中更新响应消息内容和响应长度
**函数功能:  执行LTE+CMD指令中的command
**返回值:    未匹配指令或命令解析失败返回0
**          返回非0不代表command执行成功，具体看对应的执行函数resp_msg回复
*********************************************************************/
uint16_t run_lte_cmd(at_cmd_struc *at_cmd_msg);

/*********************************************************************
**函数名称:  lte_send_command
**入口参数:  cmd_name     --  命令名称
**           param        --  命令参数（可选，NULL 表示无参数）
**出口参数:  无
**函数功能:  用于构建并发送 LTE 命令到 LTE 模块，支持带参数和不带参数的命令。
**           命令格式：BLE+命令名称[=参数]
**返 回 值:  0 表示成功，-1 表示失败（模式非法）
*********************************************************************/
int lte_send_command(const char *cmd_name, const char *param);

#endif /* _MY_CMD_SETTING_H_ */
```

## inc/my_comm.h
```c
/********************************************************************
**版权所有         深圳市几米物联有限公司
**文件名称:        my_comm.h
**文件描述:        LL311_BLE 工程统一头文件
**当前版本:        V1.0
**作    者:        Harrison Wu (wuyujiao@jimiiot.com)
**完成日期:        2026.01.15
*********************************************************************
** 功能描述:        集中引用所有模块头文件，便于统一管控
**                 包含：Main、BLE、Shell、Ctrl、LTE、NFC、GSensor 模块
*********************************************************************/

#ifndef _MY_COMMON_H_
#define _MY_COMMON_H_

/* ========== 系统头文件引用 ========== */
/* 标准C库 */
#include <errno.h>
#include <stdbool.h>
#include <stddef.h>
#include <stdint.h>
#include <stdio.h>
#include <string.h>
#include <stdlib.h>
#include <math.h>
#include <time.h>
#include <ctype.h>
#include <psa/crypto.h>

/* Zephyr核心 */
#include <zephyr/device.h>
#include <zephyr/devicetree.h>
#include <zephyr/kernel.h>
#include <zephyr/types.h>

/* Zephyr驱动 */
#include <zephyr/drivers/gpio.h>
#include <zephyr/drivers/i2c.h>
#include <zephyr/drivers/pwm.h>
#include <zephyr/drivers/uart.h>
#include <zephyr/drivers/adc.h>
#include <zephyr/drivers/hwinfo.h>

/* Zephyr系统功能 */
#include <zephyr/logging/log.h>
#include <zephyr/logging/log_output_custom.h>
#include <zephyr/settings/settings.h>
#include <zephyr/sys/reboot.h>
#include <zephyr/sys/util.h>
#include <zephyr/sys/byteorder.h>
#include <zephyr/sys/poweroff.h>
#include <zephyr/sys/clock.h>
#include <zephyr/storage/flash_map.h>
#include <zephyr/fs/zms.h>

/* Zephyr 设备及电源管理 */
#include <zephyr/pm/device.h>
#include <zephyr/pm/device_runtime.h>

/* Zephyr shell */
#include <zephyr/shell/shell.h>

/* Zephyr蓝牙 */
#include <zephyr/bluetooth/bluetooth.h>
#include <zephyr/bluetooth/conn.h>
#include <zephyr/bluetooth/gatt.h>
#include <zephyr/bluetooth/hci.h>
#include <zephyr/bluetooth/hci_vs.h>
#include <zephyr/bluetooth/uuid.h>
#include <zephyr/bluetooth/addr.h>

/* Zephyr MCUmgr */
#include <zephyr/mgmt/mcumgr/mgmt/callbacks.h>

/* Nordic SDK/HAL */
#include <hal/nrf_gpio.h>
#include <hal/nrf_reset.h>
#include <bluetooth/services/nus.h>
#include <soc.h>
#include <uart_async_adapter.h>

// 包含 FM175XX 相关头文件
#include "../inc/fm175xx_driver.h"
#include "../inc/fm175xx_reg.h"

/* ========== 通用宏定义 ========== */
#define JM_SLEEP(timeout) k_sleep(timeout)
#define MY_MALLOC_BUFFER(PTR, BUFFER_SIZE) \
    {                                      \
        (PTR) = k_malloc((BUFFER_SIZE));   \
    }
#define MY_FREE_BUFFER(PTR) k_free(PTR)
#define MY_ASSERT_INFO(PARAM)  \
    {                          \
        if (!(PARAM))          \
        {                      \
            my_system_reset(); \
        }                      \
    } // TODO

/* ========== 模块类型枚举 ========== */
typedef enum
{
    MOD_MAIN,        // 主处理程序
    MOD_BLE,         // BLE处理程序
    MOD_CTRL,        // Control处理程序
    MOD_LTE,         // LTE处理程序
    MOD_NFC,         // NFC处理程序
    MOD_GSENSOR,     // G-Sensor处理程序
    MOD_FOTA,        // FOTA处理程序
    MAX_MY_MOD_TYPE, // 最大模块类型
} module_type;

/* ========== 告警类型枚举 ========== */
typedef enum
{
    ALARM_OPEN = 1,         // 拆壳告警
    ALARM_UNLOCK,           // 开锁告警
    ALARM_LOCK,             // 上锁告警
    ALARM_STILL,            // 静止状态告警
    ALARM_SEA,              // 海运状态告警
    ALARM_LAND,             // 陆运状态告警
    ALARM_CHARGE_OUT,        // 充电器拔出告警
    ALARM_CHARGE_IN,        // 充电器插入告警
    ALARM_CHARGE_FULL,      // 充满状态告警
    ALARM_IMPACT,           // 撞击检测告警
    ALARM_CUT,              // 剪线告警
    ALARM_LOCKPIN_IN,       // 锁销插入状态告警
    ALARM_LOCKPIN_OUT,       // 锁销拔出状态告警
    ALARM_NFC,              // NFC告警
    ALARM_BATT,             // 电池状态告警
    ALARM_OTHER,            // 其他类型告警
} alarm_type_t;

/* ========== 4G开机/唤醒协议相关枚举 ========== */
typedef enum
{
    LTE_PWR_STATE_NORMAL = 0,   // 正常上电
    LTE_PWR_STATE_ABNORMAL = 1, // 异常重启
} lte_power_state_t;

typedef enum
{
    LTE_PWRON_REASON_BT = 0,    // 蓝牙上电
    LTE_PWRON_REASON_USB = 1,   // USB上电
    LTE_PWRON_REASON_OTHER = 2, // 其他(预留)
} lte_poweron_reason_t;

typedef enum
{
    LTE_BOOT_REASON_CONTINUOUS = 0, // 连续追踪模式间隔定位上报
    LTE_BOOT_REASON_LONG_LIFE = 1,  // 长续航模式间隔定位上报
    LTE_BOOT_REASON_SMART = 2,      // 智能模式间隔定位上报
    LTE_BOOT_REASON_ALARM = 3,      // 告警事件唤醒
    LTE_BOOT_REASON_SCAN = 4,       // 扫描数据上报
    LTE_BOOT_REASON_RESERVED = 255, // 预留(未知原因)
} lte_boot_reason_t;

/* ========== 定时器相关定义 ========== */
typedef enum
{
    MY_TIMER_ONE_MINUTE = 0, // 最核心定时器，一分钟定时器使用
    MY_TIMER_TEST,           // 1
    // MY_TIMER_WDT_FEED,       /* 看门狗喂狗定时器 */
    MY_TIMER_LTE_POWER,      // LTE电源控制定时器
    MY_TIMER_SHUTDOWN,       // 关机定时器
    MY_TIMER_LTE_PULSE,       // LTE脉冲定时器

    /* 扫描定时器 */
    MY_TIMER_SCAN_INTERVAL,   // 周期扫描定时器
    MY_TIMER_SCAN_LENGTH,     // 单次扫描时长定时器
    MY_TIMER_UPLOAD_INTERVAL, // 上报间隔定时器

    // G-Sensor 专用定时器
    MY_TIMER_GSENSOR_SAMPLE,        // G-Sensor 周期采样定时器
    MY_TIMER_GSENSOR_BURST,         // G-Sensor 批量采样定时器
    MY_TIMER_GSENSOR_SHOCK_ALARM,   // G-Sensor 撞击告警定时器

    MY_TIMER_MAX_ID,
} MY_E_TIMER;

/* 消息ID定义 */
typedef enum
{
    MY_MSG_BASE_MSG = 0,
    MY_MSG_UART_READ_EVENT = MY_MSG_BASE_MSG + 1,
    MY_MSG_TEST,
    MY_MSG_ONE_MINUTE_TIMER,
    MY_MSG_GET_MDIMEI,
    MY_MSG_CLEAR_WDT,
    MY_MSG_POF_EVENT,
    MY_MSG_SYS_SHUTDOWN,
    MY_MSG_POWER_OFF,
    MY_MSG_SYS_REBOOT, // 10
    MY_MSG_BLE_DATA_EVENT,
    MY_MSG_CTRL_LED,    /* LED 控制消息 */
    MY_MSG_CTRL_BUZZER_MODE, /* 蜂鸣器控制消息 */
    MY_MSG_CTRL_BUZZER_ON,
    MY_MSG_CTRL_BUZZER_OFF,
    MY_MSG_WORK_MODE_SWITCH,
    MY_MSG_SHOW_CHARG, // 充电状态显示LED消息
    MY_MSG_UPDATE_BATTERY, // 更新电池状态消息
    MY_MSG_CTRL_LOCK_LED, // 锁LED控制消息
    MY_MSG_VERIFY_UNLOCK, // 处理开锁规则



    /* LTE处理程序消息 */
    MY_MSG_RESET_LTE_TIMER,
    MY_MSG_LTE_UART_IDLE,
    MY_MSG_LTE_TX_DONE,
    MY_MSG_LTE_TX_ABORTED,
    MY_MSG_LTE_PWRON,
    MY_MSG_LTE_PWROFF,
    MY_MSG_LTE_REV,
    MY_MSG_RETRANS_CHECK,
    MY_MSG_ADD_RETRANS_QUEUE,

    /* G-Sensor处理程序消息 */
    MY_MSG_GSENSOR_LOW_POWER,       /* G-Sensor 模式切换进入低功耗模式 */
    MY_MSG_GSENSOR_INT,             /* G-Sensor INT1 中断消息 */
    MY_MSG_GSENSOR_FIFO_INT,        /* G-Sensor FIFO中断消息 */
    MY_MSG_GSENSOR_SHOCK_INT,       /* G-Sensor 撞击检测中断消息 */
    MY_MSG_MODESET_UPDATE,          /* 处理智能模式下参数设置更新 */
    MY_MSG_GSENSOR_SAMPLE,          /* G-Sensor 周期采样消息 */
    MY_MSG_GPS_SPEED_UPDATE ,       /* 处理GPS速度消息 */
    MY_MSG_SHOCK_SW,                /* 处理撞击检测开关消息 */

    /* NFC处理程序消息 */
    MY_MSG_NFC_START_POLL,   /* 启动NFC轮询 */
    MY_MSG_NFC_STOP_POLL,    /* 停止NFC轮询 */
    MY_MSG_NFC_CARD_EVENT,   /* NFC卡片事件 */
    MY_MSG_NFC_POLL_TIMEOUT, /* NFC轮询超时 */

    /* CTRL处理程序消息 */
    MY_MSG_CTRL_KEY_SHORT_PRESS,       /* 按键短按事件 */
    MY_MSG_CTRL_KEY_LONG_PRESS,        /* 按键长按事件（2秒） */
    MY_MSG_CTRL_LIGHT_SENSOR_DARK,     /* 光传感器检测到黑暗环境 */
    MY_MSG_CTRL_LIGHT_SENSOR_BRIGHT,   /* 光传感器检测到光明环境 */
    MY_MSG_CTRL_LOCK_PIN_INSERTED,     /* 锁销插入检测 */
    MY_MSG_CTRL_LOCK_PIN_DISCONNECTED, /* 锁销断开检测 */
    MY_MSG_CTRL_SHUTDOWN_REQUEST,      /* 关机请求 */

    /* BLE 处理程序消息 */
    MY_MSG_BLE_RX,

    // 处理4G过来LTE+CMD数据透传
    MY_MSG_LTE_CMD_RX,
    MY_MSG_LTE_CMD_ASYNC_RESP,
    MY_MSG_BLE_NFCTRIG_EVENT,  // 处理NFC联动指令

    //处理透传mac和tag数据传输（单条上报)
    MY_MSG_UPLOAD_TAG_AND_MAC,

    /* DFU OTA 状态消息 */
    MY_MSG_DFU_START,    /* DFU OTA 开始 */
    MY_MSG_DFU_TIMEOUT,  /* DFU OTA 超时退出 */
    MY_MSG_DFU_COMPLETE, /* DFU OTA 完成 */
    MY_MSG_DFU_FAIL,     /* DFU OTA 失败 */

    /* 开关锁状态消息 */
    MY_MSG_CTRL_OPENLOCKING,    /* 开锁中 */
    MY_MSG_CTRL_CLOSELOCKING,   /* 关锁中 */
    MY_MSG_CTRL_STOPLOCK,       /* 停止开/关锁 */
    MY_MSG_CTRL_OPENLOCKED,     /* 已开锁 */
    MY_MSG_CTRL_CLOSELOCKED,    /* 已关锁 */
    MY_MSG_BLE_LOCK_RESULT,     /* 蓝牙开/关锁结果通知消息 */
    MY_MSG_BLE_CMD,             /* 指令透传回复消息 */

    MY_MSG_LTE_BLE_DATA,        /* 蓝牙指令数据 */
    MY_MSG_BLE_PACKET_TIMEOUT,  /* BLE包传输应答超时 */
    MY_MSG_LTE_PULSE,             /* LTE脉冲消息 */

    MY_MSG_SHUTDOWN,            /* 关机消息 */

    /* 扫描处理程序消息 */
    MY_MSG_TAG_SCAN_PROCESS,    /* TAG扫描数据处理消息 */
    MY_MSG_TRAN_MAC_PROCESS,    /* 透传MAC扫描数据处理消息 */
    MY_MSG_SCAN_INTERVAL,       /* 周期扫描定时器消息 */
    MY_MSG_SCAN_LENGTH,         /* 单次扫描时长定时器消息 */
    MY_MSG_SCAN_UPLOAD,         /* 上报间隔定时器消息 */
    MY_MSG_UPLOAD_WAKEUP,       /* 扫描数据在LTE唤醒时顺便上报消息 */
    MY_MSG_LTE_WAKEUP,          /* LTE唤醒引脚中断触发的UART恢复消息 */
} MY_MAIN_TASK_MSG;

/* ========== 集中引用所有模块头文件 ========== */
#include "my_version.h"
#include "my_ring_buf.h"
#include "my_main.h"
#include "my_ble_core.h"
#include "my_shell.h"
#include "my_ctrl.h"
#include "my_lte.h"
#include "my_nfc.h"
#include "my_gsensor.h"
#include "my_gsensor_algorithm.h"
#include "my_motor.h"
#include "my_battery.h"
// #include "my_wdt.h"
#include "my_tool.h"
#include "my_ble_app.h"
#include "my_cmd_setting.h"
#include "my_dfu_jimi.h"
#include "my_ble_log.h"
#include "my_pm.h"
#include "my_ble_scan.h"
#include "my_flash_store.h"
#include "my_zms_param.h"

#endif /* _MY_COMMON_H_ */
```

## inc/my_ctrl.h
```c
/********************************************************************
**版权所有         深圳市几米物联有限公司
**文件名称:        my_ctrl.h
**文件描述:        系统控制模块头文件 (LED, Buzzer, Key)
**当前版本:        V1.0
**作    者:        Harrison Wu (wuyujiao@jimiiot.com)
**完成日期:        2026.01.15
*********************************************************************
** 功能描述:        1. 整合 LED 指示灯控制
**                 2. 整合蜂鸣器 PWM 驱动
**                 3. 实现 FUN_KEY (P1.09) 按键短按/长按检测
**                 4. 实现光感、剪线检测中断接口
**                 5. 提供独立线程处理控制任务
*********************************************************************/

#ifndef _MY_CTRL_H_
#define _MY_CTRL_H_

/* --- 蜂鸣器相关定义 --- */
struct my_buzzer_note
{
    uint32_t freq_hz;     /* 频率 (Hz) */
    uint32_t duration_ms; /* 持续时间 (ms) */
};

typedef enum
{
    /* 指令控制类型 (BUZZER 指令) */
    BUZZER_STOP = 0,             // 0: 停止蜂鸣器
    BUZZER_CONTINUOUS_ALARM,     // 1: 持续报警 (200ms ON, 500ms OFF, 不停止)
    BUZZER_UNLOCK_SUCCESS,       // 2: 成功提示音 (500ms ON)/解锁成功提示: 长鸣 500ms
    BUZZER_FAIL_TONE,            // 3: 失败提示音 (200ms ON, 200ms OFF, 响3声)
    BUZZER_ERROR_TONE,           // 4: 异常提示音/未授权提示音:(NFC/蓝牙上锁/解锁未授权), 5次短鸣, 每次100ms, 间隔100ms
    BUZZER_GENERAL_ALARM,        // 5: 一般报警音 (200ms ON, 300ms OFF, 持续30s)

    BUZZER_EVENT_LOCK_SUCCESS = 6,          // 上锁成功提示: 短鸣2次, 每次100ms, 间隔300ms
    BUZZER_EVENT_LOCK_FAIL,             // 上锁/解锁失败提示(滑块异常): 3次长鸣, 每次1000ms, 间隔500ms
    BUZZER_EVENT_NFC_ACTIVATE,          // NFC激活提示: 蜂鸣器提示 100ms

    BUZZER_EVENT_READ_NFC_SUCCESS        // 10: NFC 读卡成功 200ms
} MY_BUZZER_MODE;

extern int g_buzzer_mode;

extern uint8_t g_nfc_card_index; // 处理NFC刷卡事件卡号索引
extern int g_last_card_index;

typedef struct {
    int tick;          // 当前计数（单位：100ms）
    int on_time;       // 响多久（单位：tick）
    int off_time;      // 停多久
    int repeat;        // 剩余次数（0表示无限;>0指定次数）
    uint8_t state;     // 0=关，1=开
} BUZZER_Ctrl_S;

typedef enum
{
    CLOSE_LED,   /* 关闭 LED */
    OPEN_LED,    /* 打开 LED */
    TOGGLE_LED,  /* 切换 LED 状态 */
} MY_LED_CTRL_CMD;

//定义了电池相关 LED ID，用于标识不同的 LED 指示灯
typedef enum
{
    BATT_LED1,  /**< 电池 LED 1 */
    BATT_LED2,  /**< 电池 LED 2 */
    BATT_LED3,  /**< 电池 LED 3 */
} MY_LED_ID;

typedef enum
{
    LOCK_LED_CLOSE,              /**< 关闭锁 LED 模式 */
    LOCK_LED_NFC_START,          /**< NFC 启动模式，LED 以 200ms 亮、500ms 灭的频率闪烁*/
    LOCK_LED_LOCKED,   /**< 解锁中和上锁中模式，LED 以 200ms 亮、200ms 灭的频率持续闪烁 */
    LOCK_LED_UNLOCK,             /**< 已解锁模式，LED 以 500ms 亮、1000ms 灭的频率闪烁，持续 18 秒 */
} MY_LOCK_LED_MODE;

/* --- 接口函数 --- */

/********************************************************************
**函数名称:  my_ctrl_init
**入口参数:  tid      ---   指向线程 ID 变量的指针
**出口参数:  tid      ---   存储启动后的线程 ID
**函数功能:  初始化控制模块并启动控制线程
**返 回 值:  0 表示成功，负值表示失败
**功能描述:  1. 初始化按键、光感、剪线 IO 中断
**           2. 初始化 LED、蜂鸣器、电机、电池 ADC
**           3. 启动控制线程
*********************************************************************/
int my_ctrl_init(k_tid_t *tid);

/********************************************************************
**函数名称:  my_ctrl_buzzer_play_tone
**入口参数:  freq_hz       ---   频率 (Hz)
**           duration_ms   ---   持续时间 (ms)
**出口参数:  无
**函数功能:  播放一个指定频率和时长的单音
**返 回 值:  0 表示成功，负值表示失败
*********************************************************************/
int my_ctrl_buzzer_play_tone(uint32_t freq_hz, uint32_t duration_ms);

/********************************************************************
**函数名称:  my_ctrl_buzzer_play_sequence
**入口参数:  notes         ---   音符数组指针
**           num_notes     ---   音符数量
**出口参数:  无
**函数功能:  播放一组音符序列
**返 回 值:  0 表示成功，负值表示失败
*********************************************************************/
int my_ctrl_buzzer_play_sequence(const struct my_buzzer_note *notes, uint32_t num_notes);

/********************************************************************
**函数名称:  batt_led_set_level
**入口参数:  level    ---   电量等级 (0~3)
**出口参数:  无
**函数功能:  设置电量指示灯等级
**返 回 值:  0 表示成功，负值表示失败
**功能描述:  根据 level 值点亮对应数量的电量 LED
**           0 -> 全灭
**           1 -> 只亮 batt_led0
**           2 -> 亮 batt_led0, batt_led1
**           3 -> 亮 batt_led0, batt_led1, batt_led2
*********************************************************************/
int batt_led_set_level(uint8_t level);

/********************************************************************
**函数名称:  handle_nfc_card_event
**入口参数:  card_id    ---        输入，NFC卡号指针
            id_len     ---        输入，卡号长度
**出口参数:  无
**函数功能:  处理NFC刷卡事件，检查重复刷卡、验证卡片权限并执行相应操作
**返 回 值:  无
*********************************************************************/
void handle_nfc_card_event(uint8_t *card_id, uint8_t id_len);

/*********************************************************************
**函数名称:  my_lock_led_set_mode
**入口参数:  mode  ---        LED 显示模式，使用 MY_LOCK_LED_MODE 枚举类型
**出口参数:  无
**函数功能:  该函数根据传入的模式参数，设置锁 LED 的不同显示模式，
**          包括关闭、NFC启动、解锁中和上锁中和已解锁模式。
*********************************************************************/
void my_lock_led_set_mode(MY_LOCK_LED_MODE mode);

/*********************************************************************
**函数名称:  my_lock_led_msg_send
**入口参数:  mode  ---        LED 显示模式，使用 MY_LOCK_LED_MODE 枚举类型
**出口参数:  无
**函数功能:  用于发送锁 LED 控制消息到控制模块，设置锁 LED 的显示模式
*********************************************************************/
void my_lock_led_msg_send(MY_LOCK_LED_MODE mode);

/********************************************************************
**函数名称:  get_lockpin_insert_state
**入口参数:  无
**出口参数:  无
**函数功能:  获取锁销插入状态
**返 回 值:  true  ---        锁销已插入
            false ---        锁销未插入
*********************************************************************/
bool get_lockpin_insert_state(void);

void my_set_buzzer_mode(int buzzer_mode);

/********************************************************************
**函数名称:  send_alarm_message_to_lte
**入口参数:  alarm_type    ---    告警类型枚举(输入)
**          additional_info   ---    附加信息字符串指针(输入，可为NULL)
**出口参数:  无
**函数功能:  发送告警消息到LTE模块
**返回值:    无
**注意事项:  函数内部动态分配内存，由LTE任务负责释放
*********************************************************************/
void send_alarm_message_to_lte(alarm_type_t alarm_type, const char *additional_info);

/********************************************************************
**函数名称:  go_to_system_off
**入口参数:  无
**出口参数:  无
**函数功能:  进入系统深度休眠
**返 回 值:  无
**功能描述:  1. 清除 RESETREAS 避免立即唤醒
**           2. 配置唤醒引脚
**           3. 延迟 2 秒确保日志输出
**           4. 进入 System OFF 模式
*********************************************************************/
void go_to_system_off(void);

/********************************************************************
**函数名称:  lock_led_set
**入口参数:  on       ---   true 点亮，false 熄灭
**出口参数:  无
**函数功能:  设置锁状态指示灯
**返 回 值:  无
**功能描述:  根据 on 参数控制锁状态 LED 亮灭
*********************************************************************/
void lock_led_set(bool on);

#endif /* _MY_CTRL_H_ */
```
